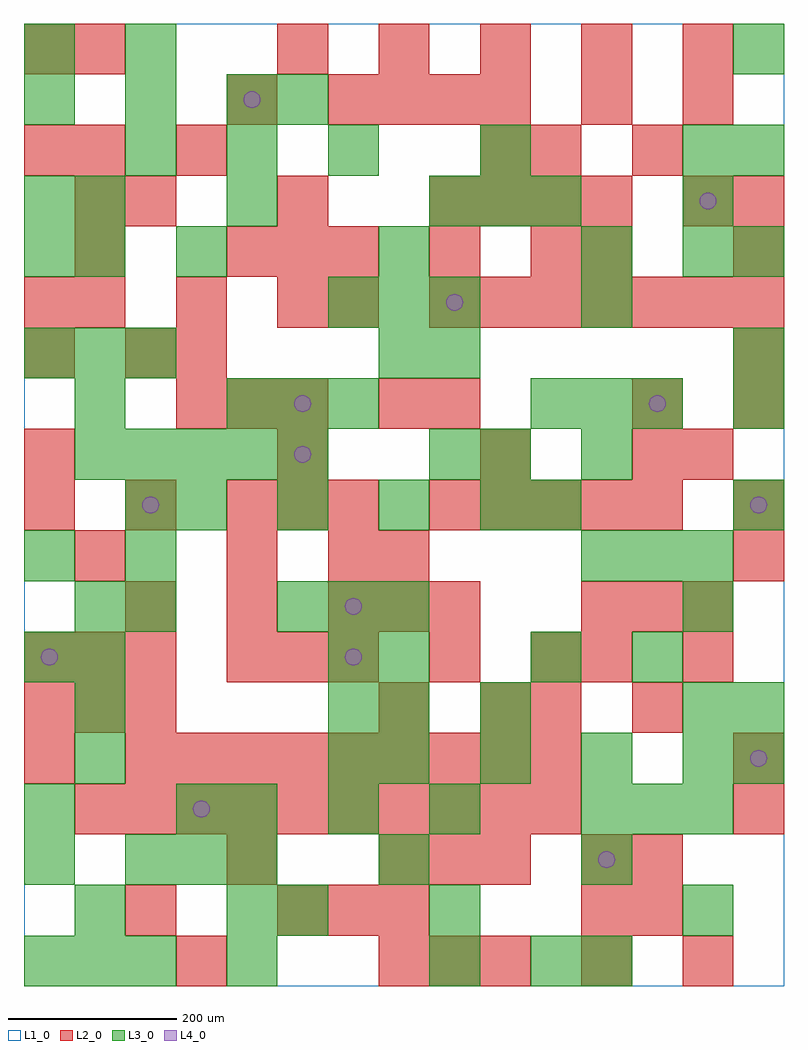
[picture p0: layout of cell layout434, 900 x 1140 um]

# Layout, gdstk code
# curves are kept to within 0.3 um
import gdstk
lib = gdstk.Library(unit=1e-6, precision=1e-09)
def R(c, l, rs):  # rectangles x0, y0, x1, y1
    for r in rs: c.add(gdstk.rectangle(r[:2], r[2:], *l))
def A(c, l, x, y, w, h, nx, ny, dx, dy):  # array of equal rectangles
    R(c, l, [(x+i*dx, y+j*dy, x+i*dx+w, y+j*dy+h) for i in range(nx) for j in range(ny)])
def P(c, l, *ps):  # polygons
    for p in ps: c.add(gdstk.Polygon(p, *l))
L1_0 = (1, 0)
L2_0 = (2, 0)
L3_0 = (3, 0)
L4_0 = (4, 0)

layout434 = lib.new_cell('layout434')
R(layout434, L1_0, [(0,0,900,1140)])
A(layout434, L2_0, 420, 0, 60, 60, 3, 2, 60, 120)
A(layout434, L2_0, 660, 0, 60, 60, 1, 3, 0, 60)
A(layout434, L2_0, 300, 60, 60, 60, 3, 1, 60, 0)
A(layout434, L2_0, 60, 180, 60, 60, 10, 1, 60, 0)
A(layout434, L2_0, 120, 240, 60, 60, 9, 1, 60, 0)
A(layout434, L2_0, 0, 300, 60, 60, 3, 2, 60, 60)
A(layout434, L2_0, 240, 360, 60, 60, 3, 2, 60, 480)
A(layout434, L2_0, 120, 420, 60, 60, 3, 1, 120, 0)
A(layout434, L2_0, 660, 420, 60, 60, 3, 1, 60, 0)
A(layout434, L2_0, 0, 540, 60, 60, 3, 1, 120, 0)
A(layout434, L2_0, 480, 540, 60, 60, 5, 1, 60, 0)
A(layout434, L2_0, 180, 660, 60, 60, 3, 1, 60, 0)
A(layout434, L2_0, 60, 780, 60, 60, 3, 1, 120, 0)
A(layout434, L2_0, 480, 780, 60, 60, 7, 1, 60, 0)
A(layout434, L2_0, 60, 840, 60, 60, 1, 3, 0, 60)
A(layout434, L2_0, 120, 900, 60, 60, 3, 1, 180, 0)
A(layout434, L2_0, 540, 900, 60, 60, 3, 1, 60, 0)
A(layout434, L2_0, 360, 1020, 60, 60, 4, 1, 60, 0)
A(layout434, L2_0, 300, 1080, 60, 60, 5, 1, 120, 0)
R(layout434, L2_0, [(180,0,240,60), (780,0,840,60), (120,60,180,120), (720,60,780,120), (240,120,300,180), (720,120,780,180), (840,180,900,240), (0,240,60,300), (840,240,900,300), (420,300,480,360), (540,300,600,360), (600,300,660,360), (720,300,780,360), (480,360,540,420), (600,360,660,420), (660,360,720,420), (780,360,840,420), (420,420,480,480), (480,420,540,480), (60,480,120,540), (240,480,300,540), (360,480,420,540), (420,480,480,540), (840,480,900,540), (300,540,360,600), (360,540,420,600), (840,540,900,600), (0,600,60,660), (300,600,360,660), (540,600,600,660), (720,600,780,660), (780,600,840,660), (420,660,480,720), (480,660,540,720), (720,660,780,720), (840,660,900,720), (0,720,60,780), (120,720,180,780), (180,720,240,780), (840,720,900,780), (0,780,60,840), (360,780,420,840), (480,840,540,900), (600,840,660,900), (660,840,720,900), (840,840,900,900), (780,900,840,960), (840,900,900,960), (0,960,60,1020), (180,960,240,1020), (540,960,600,1020), (600,960,660,1020), (720,960,780,1020), (240,1020,300,1080), (660,1020,720,1080), (780,1020,840,1080), (0,1080,60,1140), (60,1080,120,1140)])
A(layout434, L3_0, 0, 0, 60, 60, 3, 2, 60, 720)
A(layout434, L3_0, 120, 120, 60, 60, 3, 1, 60, 0)
A(layout434, L3_0, 240, 180, 60, 60, 3, 1, 120, 0)
A(layout434, L3_0, 660, 180, 60, 60, 3, 2, 60, 300)
A(layout434, L3_0, 60, 240, 60, 60, 1, 4, 0, 60)
A(layout434, L3_0, 360, 240, 60, 60, 1, 3, 0, 60)
A(layout434, L3_0, 420, 240, 60, 60, 4, 1, 120, 0)
A(layout434, L3_0, 120, 420, 60, 60, 1, 3, 0, 60)
A(layout434, L3_0, 300, 420, 60, 60, 3, 1, 60, 0)
A(layout434, L3_0, 180, 540, 60, 60, 4, 1, 120, 0)
A(layout434, L3_0, 60, 600, 60, 60, 5, 1, 60, 0)
A(layout434, L3_0, 240, 660, 60, 60, 3, 1, 60, 0)
A(layout434, L3_0, 600, 660, 60, 60, 3, 1, 60, 0)
A(layout434, L3_0, 840, 720, 60, 60, 1, 4, 0, 120)
A(layout434, L3_0, 360, 780, 60, 60, 3, 1, 60, 0)
A(layout434, L3_0, 180, 840, 60, 60, 3, 1, 240, 0)
A(layout434, L3_0, 780, 840, 60, 60, 1, 3, 0, 60)
A(layout434, L3_0, 480, 900, 60, 60, 3, 1, 60, 0)
A(layout434, L3_0, 120, 960, 60, 60, 3, 1, 120, 0)
A(layout434, L3_0, 0, 1020, 60, 60, 3, 1, 120, 0)
R(layout434, L3_0, [(240,0,300,60), (480,0,540,60), (600,0,660,60), (660,0,720,60), (60,60,120,120), (240,60,300,120), (300,60,360,120), (480,60,540,120), (780,60,840,120), (0,120,60,180), (420,120,480,180), (660,120,720,180), (0,180,60,240), (180,180,240,240), (840,240,900,300), (420,300,480,360), (540,300,600,360), (780,300,840,360), (840,300,900,360), (0,360,60,420), (420,360,480,420), (600,360,660,420), (720,360,780,420), (780,420,840,480), (0,480,60,540), (600,540,660,600), (840,540,900,600), (480,600,540,660), (540,600,600,660), (660,600,720,660), (60,660,120,720), (840,660,900,720), (420,720,480,780), (480,720,540,780), (660,780,720,840), (0,840,60,900), (60,840,120,900), (0,900,60,960), (60,900,120,960), (240,900,300,960), (540,960,600,1020), (300,1020,360,1080), (0,1080,60,1140), (120,1080,180,1140)])
P(layout434, L4_0, [(40,390),(39.239,393.827),(37.071,397.071),(33.827,399.239),(30,400),(26.173,399.239),(22.929,397.071),(20.761,393.827),(20,390),(20.761,386.173),(22.929,382.929),(26.173,380.761),(30,380),(33.827,380.761),(37.071,382.929),(39.239,386.173)],
  [(160,570),(159.239,573.827),(157.071,577.071),(153.827,579.239),(150,580),(146.173,579.239),(142.929,577.071),(140.761,573.827),(140,570),(140.761,566.173),(142.929,562.929),(146.173,560.761),(150,560),(153.827,560.761),(157.071,562.929),(159.239,566.173)],
  [(220,210),(219.239,213.827),(217.071,217.071),(213.827,219.239),(210,220),(206.173,219.239),(202.929,217.071),(200.761,213.827),(200,210),(200.761,206.173),(202.929,202.929),(206.173,200.761),(210,200),(213.827,200.761),(217.071,202.929),(219.239,206.173)],
  [(280,1050),(279.239,1053.827),(277.071,1057.071),(273.827,1059.239),(270,1060),(266.173,1059.239),(262.929,1057.071),(260.761,1053.827),(260,1050),(260.761,1046.173),(262.929,1042.929),(266.173,1040.761),(270,1040),(273.827,1040.761),(277.071,1042.929),(279.239,1046.173)],
  [(340,630),(339.239,633.827),(337.071,637.071),(333.827,639.239),(330,640),(326.173,639.239),(322.929,637.071),(320.761,633.827),(320,630),(320.761,626.173),(322.929,622.929),(326.173,620.761),(330,620),(333.827,620.761),(337.071,622.929),(339.239,626.173)],
  [(340,690),(339.239,693.827),(337.071,697.071),(333.827,699.239),(330,700),(326.173,699.239),(322.929,697.071),(320.761,693.827),(320,690),(320.761,686.173),(322.929,682.929),(326.173,680.761),(330,680),(333.827,680.761),(337.071,682.929),(339.239,686.173)],
  [(400,390),(399.239,393.827),(397.071,397.071),(393.827,399.239),(390,400),(386.173,399.239),(382.929,397.071),(380.761,393.827),(380,390),(380.761,386.173),(382.929,382.929),(386.173,380.761),(390,380),(393.827,380.761),(397.071,382.929),(399.239,386.173)],
  [(400,450),(399.239,453.827),(397.071,457.071),(393.827,459.239),(390,460),(386.173,459.239),(382.929,457.071),(380.761,453.827),(380,450),(380.761,446.173),(382.929,442.929),(386.173,440.761),(390,440),(393.827,440.761),(397.071,442.929),(399.239,446.173)],
  [(520,810),(519.239,813.827),(517.071,817.071),(513.827,819.239),(510,820),(506.173,819.239),(502.929,817.071),(500.761,813.827),(500,810),(500.761,806.173),(502.929,802.929),(506.173,800.761),(510,800),(513.827,800.761),(517.071,802.929),(519.239,806.173)],
  [(700,150),(699.239,153.827),(697.071,157.071),(693.827,159.239),(690,160),(686.173,159.239),(682.929,157.071),(680.761,153.827),(680,150),(680.761,146.173),(682.929,142.929),(686.173,140.761),(690,140),(693.827,140.761),(697.071,142.929),(699.239,146.173)],
  [(760,690),(759.239,693.827),(757.071,697.071),(753.827,699.239),(750,700),(746.173,699.239),(742.929,697.071),(740.761,693.827),(740,690),(740.761,686.173),(742.929,682.929),(746.173,680.761),(750,680),(753.827,680.761),(757.071,682.929),(759.239,686.173)],
  [(820,930),(819.239,933.827),(817.071,937.071),(813.827,939.239),(810,940),(806.173,939.239),(802.929,937.071),(800.761,933.827),(800,930),(800.761,926.173),(802.929,922.929),(806.173,920.761),(810,920),(813.827,920.761),(817.071,922.929),(819.239,926.173)],
  [(880,270),(879.239,273.827),(877.071,277.071),(873.827,279.239),(870,280),(866.173,279.239),(862.929,277.071),(860.761,273.827),(860,270),(860.761,266.173),(862.929,262.929),(866.173,260.761),(870,260),(873.827,260.761),(877.071,262.929),(879.239,266.173)],
  [(880,570),(879.239,573.827),(877.071,577.071),(873.827,579.239),(870,580),(866.173,579.239),(862.929,577.071),(860.761,573.827),(860,570),(860.761,566.173),(862.929,562.929),(866.173,560.761),(870,560),(873.827,560.761),(877.071,562.929),(879.239,566.173)])

lib.write_gds('layout434.gds')
